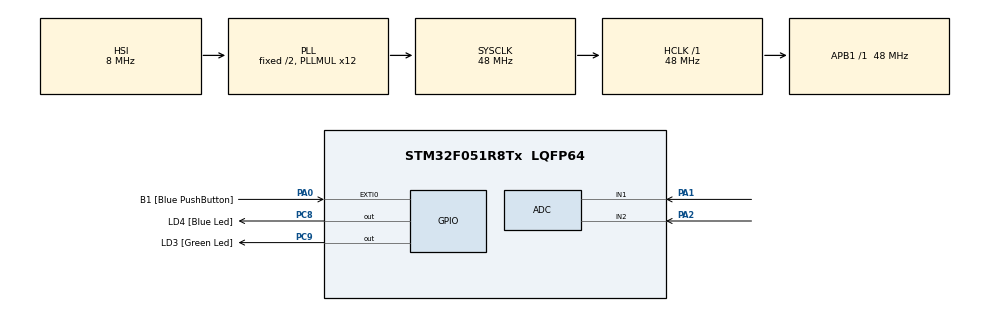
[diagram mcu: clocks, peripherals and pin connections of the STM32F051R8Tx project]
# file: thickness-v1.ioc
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Mcu.Family=STM32F0
Dma.ADC.0.Mode=DMA_CIRCULAR
PC9.GPIO_Label=LD3 [Green Led]
PA14.GPIO_Label=SWCLK
PA0.GPIO_Label=B1 [Blue PushButton]
PC8.Signal=GPIO_Output
Dma.ADC.0.Priority=DMA_PRIORITY_LOW
RCC.SYSCLKSource=RCC_SYSCLKSOURCE_PLLCLK
ProjectManager.StackSize=0x400
Dma.ADC.0.PeriphDataAlignment=DMA_PDATAALIGN_HALFWORD
PC8.GPIO_Label=LD4 [Blue Led]
PA13.Signal=SYS_SWDIO
ProjectManager.TargetToolchain=Makefile
Dma.ADC.0.PeriphInc=DMA_PINC_DISABLE
RCC.HCLKFreq_Value=48000000
PA1.Signal=ADC_IN1
RCC.AHBFreq_Value=48000000
Dma.ADC.0.Direction=DMA_PERIPH_TO_MEMORY
ADC.DMAContinuousRequests=ENABLE
board=STM32F0DISCOVERY
RCC.PLLMUL=RCC_PLL_MUL12
PA1.Mode=IN1
VP_TIM2_VS_ClockSourceINT.Mode=Internal
PA14.Mode=Serial_Wire
PA0.GPIO_ModeDefaultEXTI=GPIO_MODE_EVT_RISING
TIM2.Period=100000-1
PA13.Mode=Serial_Wire
Mcu.Name=STM32F051R8Tx
PA2.Signal=ADC_IN2
PA13.GPIO_Label=SWDIO
PA0.Signal=GPXTI0
Dma.ADC.0.MemInc=DMA_MINC_ENABLE
RCC.SYSCLKFreq_VALUE=48000000
Mcu.Package=LQFP64
TIM2.Prescaler=48-1
Dma.ADC.0.Instance=DMA1_Channel1
PA14.Signal=SYS_SWCLK
ProjectManager.HeapSize=0x200
TIM2.TIM_MasterOutputTrigger=TIM_TRGO_UPDATE
Dma.ADC.0.MemDataAlignment=DMA_MDATAALIGN_HALFWORD
RCC.APB1TimFreq_Value=48000000
PA2.Mode=IN2
PC9.Signal=GPIO_Output
NVIC.DMA1_Channel1_IRQn=true\:0\:0\:false\:false\:true\:false\:true
Dma.Request0=ADC
RCC.APB1Freq_Value=48000000
ADC.ExternalTrigConv=ADC_EXTERNALTRIGCONV_T2_TRGO

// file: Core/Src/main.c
/* USER CODE BEGIN Header */
/**
  ******************************************************************************
  * @file           : main.c
  * @brief          : Main program body
  ******************************************************************************
  * @attention
  *
  * <h2><center>&copy; Copyright (c) 2020 STMicroelectronics.
  * All rights reserved.</center></h2>
  *
  * This software component is licensed by ST under BSD 3-Clause license,
  * the "License"; You may not use this file except in compliance with the
  * License. You may obtain a copy of the License at:
  *                        opensource.org/licenses/BSD-3-Clause
  *
  ******************************************************************************
  */
/* USER CODE END Header */
#include "main.h"
#include "adc.h"
#include "dma.h"
#include "tim.h"
#include "gpio.h"

/* USER CODE BEGIN PTD */
typedef enum {
  SETUP,
  LOOP,
} MAIN_TASK;
MAIN_TASK task = SETUP;

/* USER CODE END PTD */

void SystemClock_Config(void);

/* USER CODE BEGIN 0 */
#define ADC_LENGTH 16
#define ADC_CH_NUM 2
#define ADC_BUFF_LEN (ADC_LENGTH * ADC_CH_NUM)

uint16_t adc_buff[ADC_BUFF_LEN];
uint16_t ch1_data[ADC_LENGTH];
uint16_t ch2_data[ADC_LENGTH];

void setup(void)
{
  // ADC DMA using Timer2 Start
  HAL_ADC_Start_DMA(&hadc, (uint32_t*)adc_buff, ADC_BUFF_LEN);
  HAL_TIM_Base_Start(&htim2);
}

void loop(void)
{
  // use ADC Data of each channels

}

void HAL_ADC_ConvHalfCpltCallback(ADC_HandleTypeDef* hadc)
{
  for (int i = 0, j = 0; i < (ADC_LENGTH / 2); i++) {
    ch1_data[i] = adc_buff[j++];
    ch2_data[i] = adc_buff[j++];
  }
}

void HAL_ADC_ConvCpltCallback(ADC_HandleTypeDef* hadc)
{
  for (int i = (ADC_LENGTH / 2), j = (ADC_BUFF_LEN / 2); i < ADC_LENGTH; i++) {
    ch1_data[i] = adc_buff[j++];
    ch2_data[i] = adc_buff[j++];
  }
}

/* USER CODE END 0 */

int main(void)
{

  /* MCU Configuration--------------------------------------------------------*/

  /* Reset of all peripherals, Initializes the Flash interface and the Systick. */
  HAL_Init();

  /* Configure the system clock */
  SystemClock_Config();

  /* Initialize all configured peripherals */
  MX_GPIO_Init();
  MX_DMA_Init();
  MX_ADC_Init();
  MX_TIM2_Init();

  /* Infinite loop */
  /* USER CODE BEGIN WHILE */
  while (1)
  {
    switch (task) {
      case SETUP:
        setup();
        task = LOOP;
      break;
      case LOOP:
        loop();
      break;
    }
    /* USER CODE END WHILE */

  }
}

void SystemClock_Config(void)
{
  RCC_OscInitTypeDef RCC_OscInitStruct = {0};
  RCC_ClkInitTypeDef RCC_ClkInitStruct = {0};

  /** Initializes the RCC Oscillators according to the specified parameters
  * in the RCC_OscInitTypeDef structure.
  */
  RCC_OscInitStruct.OscillatorType = RCC_OSCILLATORTYPE_HSI|RCC_OSCILLATORTYPE_HSI14;
  RCC_OscInitStruct.HSIState = RCC_HSI_ON;
  RCC_OscInitStruct.HSI14State = RCC_HSI14_ON;
  RCC_OscInitStruct.HSICalibrationValue = RCC_HSICALIBRATION_DEFAULT;
  RCC_OscInitStruct.HSI14CalibrationValue = 16;
  RCC_OscInitStruct.PLL.PLLState = RCC_PLL_ON;
  RCC_OscInitStruct.PLL.PLLSource = RCC_PLLSOURCE_HSI;
  RCC_OscInitStruct.PLL.PLLMUL = RCC_PLL_MUL12;
  RCC_OscInitStruct.PLL.PREDIV = RCC_PREDIV_DIV1;
  if (HAL_RCC_OscConfig(&RCC_OscInitStruct) != HAL_OK)
  {
    Error_Handler();
  }
  /** Initializes the CPU, AHB and APB buses clocks
  */
  RCC_ClkInitStruct.ClockType = RCC_CLOCKTYPE_HCLK|RCC_CLOCKTYPE_SYSCLK
                              |RCC_CLOCKTYPE_PCLK1;
  RCC_ClkInitStruct.SYSCLKSource = RCC_SYSCLKSOURCE_PLLCLK;
  RCC_ClkInitStruct.AHBCLKDivider = RCC_SYSCLK_DIV1;
  RCC_ClkInitStruct.APB1CLKDivider = RCC_HCLK_DIV1;

  if (HAL_RCC_ClockConfig(&RCC_ClkInitStruct, FLASH_LATENCY_1) != HAL_OK)
  {
    Error_Handler();
  }
}

void Error_Handler(void)
{
}

/************************ (C) COPYRIGHT STMicroelectronics *****END OF FILE****/
